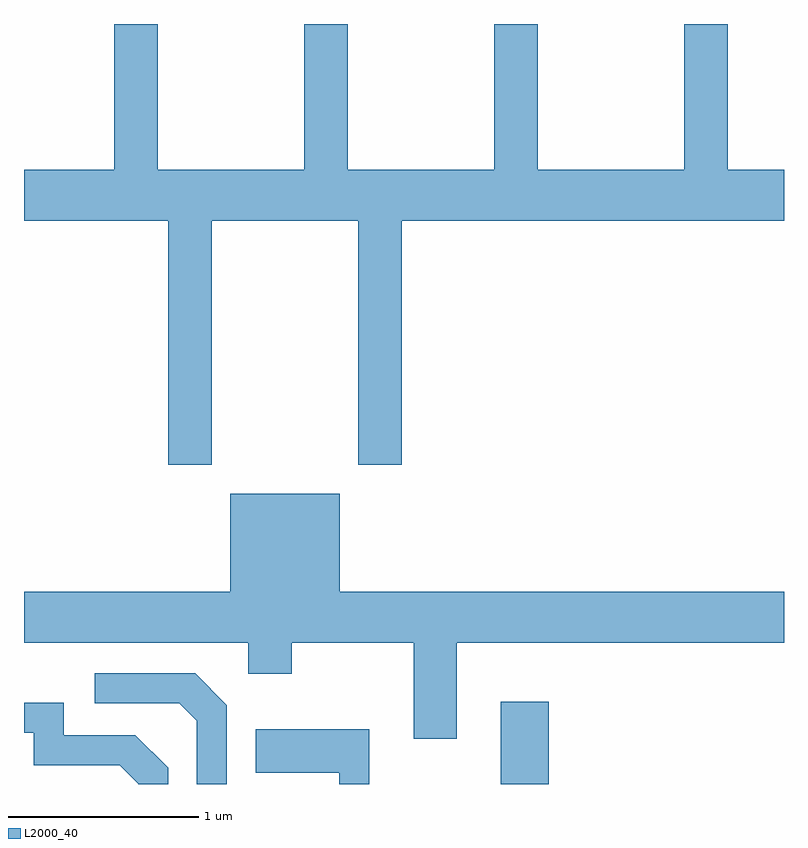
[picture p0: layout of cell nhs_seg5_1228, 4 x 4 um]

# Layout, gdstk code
import gdstk
lib = gdstk.Library(unit=1e-6, precision=1e-09)
def R(c, l, rs):  # rectangles x0, y0, x1, y1
    for r in rs: c.add(gdstk.rectangle(r[:2], r[2:], *l))
def P(c, l, *ps):  # polygons
    for p in ps: c.add(gdstk.Polygon(p, *l))
L2000_40 = (2000, 40)

nhs_seg5_1228 = lib.new_cell('nhs_seg5_1228')
R(nhs_seg5_1228, L2000_40, [(224.121,1436.072,224.374,1436.504)])
P(nhs_seg5_1228, L2000_40, [(223.314,1440.072),(223.086,1440.072),(223.086,1439.304),(222.314,1439.304),(222.314,1440.072),(222.086,1440.072),(222.086,1439.304),(221.611,1439.304),(221.611,1439.036),(222.371,1439.036),(222.371,1437.751),(222.599,1437.751),(222.599,1439.036),(223.371,1439.036),(223.371,1437.751),(223.599,1437.751),(223.599,1439.036),(225.611,1439.036),(225.611,1439.304),(225.314,1439.304),(225.314,1440.072),(225.086,1440.072),(225.086,1439.304),(224.314,1439.304),(224.314,1440.072),(224.086,1440.072),(224.086,1439.304),(223.314,1439.304)],
  [(223.889,1436.816),(225.611,1436.816),(225.611,1437.084),(223.274,1437.084),(223.274,1437.599),(222.696,1437.599),(222.696,1437.084),(221.611,1437.084),(221.611,1436.816),(222.791,1436.816),(222.791,1436.651),(223.019,1436.651),(223.019,1436.816),(223.661,1436.816),(223.661,1436.311),(223.889,1436.311)],
  [(222.679,1436.487),(222.512,1436.654),(221.983,1436.654),(221.983,1436.496),(222.429,1436.496),(222.521,1436.404),(222.521,1436.072),(222.679,1436.072)],
  [(222.369,1436.157),(222.197,1436.329),(221.819,1436.329),(221.819,1436.499),(221.611,1436.499),(221.611,1436.341),(221.661,1436.341),(221.661,1436.171),(222.114,1436.171),(222.211,1436.074),(222.211,1436.072),(222.369,1436.072)],
  [(223.429,1436.359),(222.831,1436.359),(222.831,1436.131),(223.271,1436.131),(223.271,1436.072),(223.429,1436.072)])

lib.write_gds('nhs_seg5_1228.gds')
